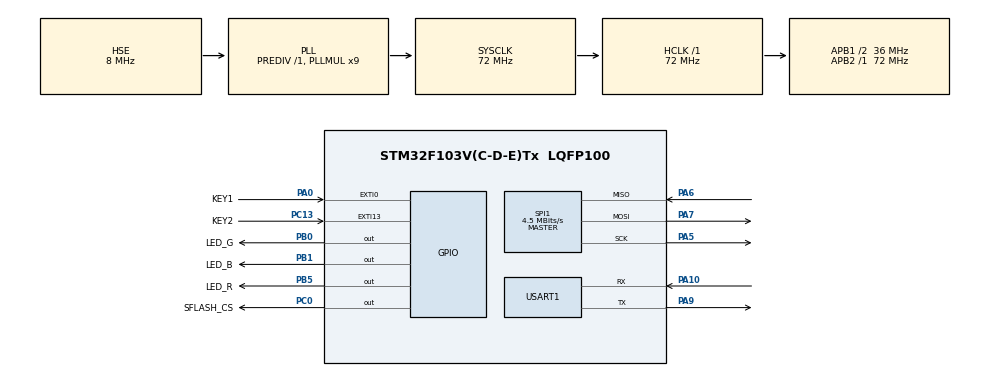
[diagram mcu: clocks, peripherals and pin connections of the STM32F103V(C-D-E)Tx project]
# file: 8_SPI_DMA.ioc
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Dma.Request0=SPI1_RX
Dma.Request1=SPI1_TX
Dma.SPI1_RX.0.Direction=DMA_PERIPH_TO_MEMORY
Dma.SPI1_RX.0.Instance=DMA1_Channel2
Dma.SPI1_RX.0.MemDataAlignment=DMA_MDATAALIGN_BYTE
Dma.SPI1_RX.0.MemInc=DMA_MINC_ENABLE
Dma.SPI1_RX.0.Mode=DMA_NORMAL
Dma.SPI1_RX.0.PeriphDataAlignment=DMA_PDATAALIGN_BYTE
Dma.SPI1_RX.0.PeriphInc=DMA_PINC_DISABLE
Dma.SPI1_RX.0.Priority=DMA_PRIORITY_LOW
Dma.SPI1_TX.1.Direction=DMA_MEMORY_TO_PERIPH
Dma.SPI1_TX.1.Instance=DMA1_Channel3
Dma.SPI1_TX.1.MemDataAlignment=DMA_MDATAALIGN_BYTE
Dma.SPI1_TX.1.MemInc=DMA_MINC_ENABLE
Dma.SPI1_TX.1.Mode=DMA_NORMAL
Dma.SPI1_TX.1.PeriphDataAlignment=DMA_PDATAALIGN_BYTE
Dma.SPI1_TX.1.PeriphInc=DMA_PINC_DISABLE
Dma.SPI1_TX.1.Priority=DMA_PRIORITY_LOW
Mcu.Family=STM32F1
Mcu.Name=STM32F103V(C-D-E)Tx
Mcu.Package=LQFP100
NVIC.DMA1_Channel2_IRQn=true\:0\:0\:false\:false\:true\:false\:true\:true
NVIC.DMA1_Channel3_IRQn=true\:0\:0\:false\:false\:true\:false\:true\:true
NVIC.EXTI0_IRQn=true\:0\:0\:false\:false\:true\:true\:true\:true
NVIC.EXTI15_10_IRQn=true\:0\:0\:false\:false\:true\:true\:true\:true
NVIC.PriorityGroup=NVIC_PRIORITYGROUP_4
NVIC.USART1_IRQn=true\:0\:0\:false\:false\:true\:true\:true\:true
OSC_IN.Mode=HSE-External-Oscillator
OSC_IN.Signal=RCC_OSC_IN
OSC_OUT.Mode=HSE-External-Oscillator
OSC_OUT.Signal=RCC_OSC_OUT
PA0-WKUP.GPIO_Label=KEY1
PA0-WKUP.GPIO_ModeDefaultEXTI=GPIO_MODE_IT_RISING
PA0-WKUP.Signal=GPXTI0
PA10.Mode=Asynchronous
PA10.Signal=USART1_RX
PA13.Mode=Serial_Wire
PA13.Signal=SYS_JTMS-SWDIO
PA14.Mode=Serial_Wire
PA14.Signal=SYS_JTCK-SWCLK
PA5.Mode=Full_Duplex_Master
PA5.Signal=SPI1_SCK
PA6.Mode=Full_Duplex_Master
PA6.Signal=SPI1_MISO
PA7.Mode=Full_Duplex_Master
PA7.Signal=SPI1_MOSI
PA9.Mode=Asynchronous
PA9.Signal=USART1_TX
PB0.GPIO_Label=LED_G
PB0.PinState=GPIO_PIN_SET
PB0.Signal=GPIO_Output
PB1.GPIO_Label=LED_B
PB1.PinState=GPIO_PIN_SET
PB1.Signal=GPIO_Output
PB5.GPIO_Label=LED_R
PB5.PinState=GPIO_PIN_SET
PB5.Signal=GPIO_Output
PC0.GPIO_Label=SFLASH_CS
PC0.PinState=GPIO_PIN_SET
PC0.Signal=GPIO_Output
PC13-TAMPER-RTC.GPIO_Label=KEY2
PC13-TAMPER-RTC.Signal=GPXTI13
ProjectManager.HeapSize=0x200
ProjectManager.StackSize=0x400
ProjectManager.TargetToolchain=MDK-ARM V5.32
RCC.AHBFreq_Value=72000000
RCC.APB1CLKDivider=RCC_HCLK_DIV2
RCC.APB1Freq_Value=36000000
RCC.APB1TimFreq_Value=72000000
RCC.APB2Freq_Value=72000000
RCC.APB2TimFreq_Value=72000000
RCC.HCLKFreq_Value=72000000
RCC.PLLMUL=RCC_PLL_MUL9
RCC.PLLSourceVirtual=RCC_PLLSOURCE_HSE
RCC.SYSCLKFreq_VALUE=72000000
RCC.SYSCLKSource=RCC_SYSCLKSOURCE_PLLCLK
RCC.USBFreq_Value=72000000
SPI1.BaudRatePrescaler=SPI_BAUDRATEPRESCALER_16
SPI1.CLKPhase=SPI_PHASE_2EDGE
SPI1.CLKPolarity=SPI_POLARITY_HIGH
SPI1.CRCCalculation=SPI_CRCCALCULATION_DISABLE
SPI1.CalculateBaudRate=4.5 MBits/s
SPI1.Direction=SPI_DIRECTION_2LINES
SPI1.Mode=SPI_MODE_MASTER
SPI1.VirtualType=VM_MASTER
USART1.VirtualMode=VM_ASYNC
board=custom

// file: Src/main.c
/* USER CODE BEGIN Header */
/**
  ******************************************************************************
  * @file           : main.c
  * @brief          : Main program body
  ******************************************************************************
  * @attention
  *
  * Copyright (c) 2024 STMicroelectronics.
  * All rights reserved.
  *
  * This software is licensed under terms that can be found in the LICENSE file
  * in the root directory of this software component.
  * If no LICENSE file comes with this software, it is provided AS-IS.
  *
  ******************************************************************************
  */
/* USER CODE END Header */
#include "main.h"
#include "dma.h"
#include "spi.h"
#include "usart.h"
#include "gpio.h"

/* USER CODE BEGIN Includes */
#include <stdio.h>//printf重定向函数用到
/* USER CODE END Includes */

void SystemClock_Config(void);

/* USER CODE BEGIN 0 */
extern UART_HandleTypeDef huart1;

//KEY1和KEY2中断回调函数
void HAL_GPIO_EXTI_Callback(uint16_t GPIO_Pin)
{
	if( GPIO_Pin == KEY1_Pin || GPIO_Pin == KEY2_Pin )
		HAL_GPIO_TogglePin(GPIOB, LED_G_Pin|LED_B_Pin|LED_R_Pin);
}

int fputc(int ch,FILE *f)
{
	HAL_UART_Transmit(&huart1,(uint8_t*)&ch,1,1000);
	return ch;
}

//	IT/DMA发送完成回调函数
void HAL_SPI_TxCpltCallback(SPI_HandleTypeDef *hspi)
{
	printf("HAL_SPI_TxCpltCallback\r\n");
}

//	IT/DMA接收完成回调函数
void HAL_SPI_RxCpltCallback(SPI_HandleTypeDef *hspi)
{
	printf("HAL_SPI_RxCpltCallback\r\n");
}
/* USER CODE END 0 */

int main(void)
{

  /* MCU Configuration--------------------------------------------------------*/

  /* Reset of all peripherals, Initializes the Flash interface and the Systick. */
  HAL_Init();

  /* Configure the system clock */
  SystemClock_Config();

  /* Initialize all configured peripherals */
  MX_GPIO_Init();
  MX_DMA_Init();
  MX_USART1_UART_Init();
  MX_SPI1_Init();
  /* USER CODE BEGIN 2 */
	printf("Start usart1 TX and RX...\r\n");
	extern void spi_flash_read_jid(void);
	spi_flash_read_jid();
  /* USER CODE END 2 */

  /* Infinite loop */
  while (1)
  {

  }
}

void SystemClock_Config(void)
{
  RCC_OscInitTypeDef RCC_OscInitStruct = {0};
  RCC_ClkInitTypeDef RCC_ClkInitStruct = {0};

  /** Initializes the RCC Oscillators according to the specified parameters
  * in the RCC_OscInitTypeDef structure.
  */
  RCC_OscInitStruct.OscillatorType = RCC_OSCILLATORTYPE_HSE;
  RCC_OscInitStruct.HSEState = RCC_HSE_ON;
  RCC_OscInitStruct.HSEPredivValue = RCC_HSE_PREDIV_DIV1;
  RCC_OscInitStruct.HSIState = RCC_HSI_ON;
  RCC_OscInitStruct.PLL.PLLState = RCC_PLL_ON;
  RCC_OscInitStruct.PLL.PLLSource = RCC_PLLSOURCE_HSE;
  RCC_OscInitStruct.PLL.PLLMUL = RCC_PLL_MUL9;
  if (HAL_RCC_OscConfig(&RCC_OscInitStruct) != HAL_OK)
  {
    Error_Handler();
  }

  /** Initializes the CPU, AHB and APB buses clocks
  */
  RCC_ClkInitStruct.ClockType = RCC_CLOCKTYPE_HCLK|RCC_CLOCKTYPE_SYSCLK
                              |RCC_CLOCKTYPE_PCLK1|RCC_CLOCKTYPE_PCLK2;
  RCC_ClkInitStruct.SYSCLKSource = RCC_SYSCLKSOURCE_PLLCLK;
  RCC_ClkInitStruct.AHBCLKDivider = RCC_SYSCLK_DIV1;
  RCC_ClkInitStruct.APB1CLKDivider = RCC_HCLK_DIV2;
  RCC_ClkInitStruct.APB2CLKDivider = RCC_HCLK_DIV1;

  if (HAL_RCC_ClockConfig(&RCC_ClkInitStruct, FLASH_LATENCY_2) != HAL_OK)
  {
    Error_Handler();
  }
}

void Error_Handler(void)
{
  __disable_irq();
  while (1)
  {
  }
}
